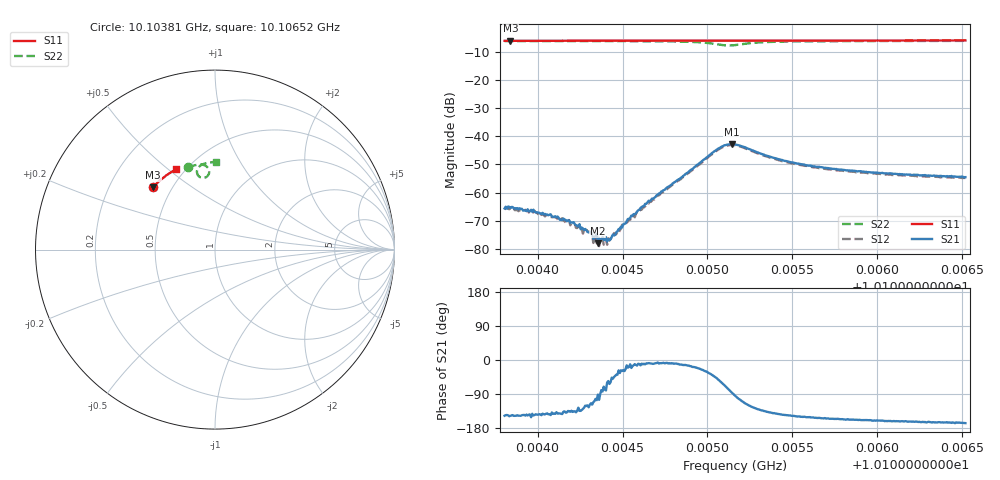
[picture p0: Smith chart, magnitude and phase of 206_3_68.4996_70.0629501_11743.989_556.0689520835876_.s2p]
#  HZ  S  RI  R  50.00
! Rohde & Schwarz Vector Network Analyzer
! Rohde-Schwarz,ZNB20-2Port,1311601062101988,3.16
! Created: UTC 3/20/2024, 5:12:58 PM
! freq[Hz]  re:S11  im:S11  re:S21  im:S21  re:S12  im:S12  re:S22  im:S22
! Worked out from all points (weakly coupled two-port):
!   401 points, 10.10381 GHz to 10.10652 GHz, reference 50 ohm
!   highest |S21| = -42.79 dB at 10.10514 GHz (marker M1); lowest = -77.9 dB at 10.10436 GHz (marker M2)
!   lowest |S11| = -6.2 dB at 10.10384 GHz (marker M3), VSWR 2.92, Z = 19.7 + j18 ohm
!   |S11| at or under -10 dB: nowhere
!   |S22| runs from -7.9 to -6.2 dB; largest |S21 - S12| = 0.00075
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1.0103806e10  -0.3471 0.3463  -0.000442 -0.000286  -0.000369 -0.000337  -0.1505 0.4584
1.010384e10  -0.3454 0.3477  -0.000451 -0.00029  -0.000419 -0.000337  -0.1483 0.4591
1.0104098e10  -0.3348 0.3593  -0.000293 -0.000232  -0.000274 -0.000251  -0.1308 0.465
1.0104199e10  -0.3302 0.3636  -0.000207 -0.000214  -0.000181 -0.000218  -0.1236 0.467
1.010426e10  -0.3277 0.3663  -0.000161 -0.00018  -0.000132 -0.000191  -0.1192 0.4682
1.0104301e10  -0.3258 0.368  -0.000113 -0.000162  -7.87e-05 -0.000188  -0.1161 0.469
1.0104342e10  -0.324 0.3697  -3.79e-05 -0.000169  -4.91e-05 -0.000147  -0.113 0.4699
1.0104355e10  -0.3234 0.3703  -2.95e-06 -0.000128  -2.13e-05 -0.000132  -0.112 0.47
1.0104369e10  -0.3229 0.3708  1.66e-07 -0.000145  1.14e-06 -0.000151  -0.1107 0.4702
1.0104389e10  -0.322 0.3716  5.01e-05 -0.000139  5.02e-05 -0.000109  -0.1092 0.4705
1.0104403e10  -0.3215 0.3724  2.73e-05 -0.000161  3.79e-05 -0.000145  -0.1082 0.4709
1.0104423e10  -0.3206 0.373  6.59e-05 -0.00013  9.37e-05 -0.000106  -0.1066 0.471
1.0104538e10  -0.3155 0.3778  0.000325 -0.000106  0.000329 -8.74e-05  -0.0966 0.4728
1.0104715e10  -0.3074 0.385  0.000951 -0.000159  0.000898 -3.53e-05  -0.0788 0.4737
1.0105054e10  -0.2913 0.398  0.00389 -0.00426  0.00409 -0.00375  -0.0331 0.4257
1.0105101e10  -0.289 0.3994  0.00269 -0.00637  0.00319 -0.00582  -0.0476 0.4049
1.0105142e10  -0.2872 0.4009  0.000574 -0.00723  0.00123 -0.0069  -0.0707 0.3995
1.0105162e10  -0.2863 0.4017  -0.000506 -0.00713  0.000198 -0.00691  -0.0817 0.4027
1.0105433e10  -0.2734 0.4118  -0.00306 -0.00227  -0.00275 -0.00242  -0.0837 0.4665
1.0105616e10  -0.2645 0.4182  -0.00259 -0.00141  -0.00237 -0.00156  -0.0652 0.4766
1.0106071e10  -0.2414 0.4332  -0.00208 -0.000714  -0.0019 -0.000866  -0.0286 0.4854
1.0106518e10  -0.2178 0.4468  -0.00183 -0.000439  -0.00172 -0.0006  0.0029 0.4882
